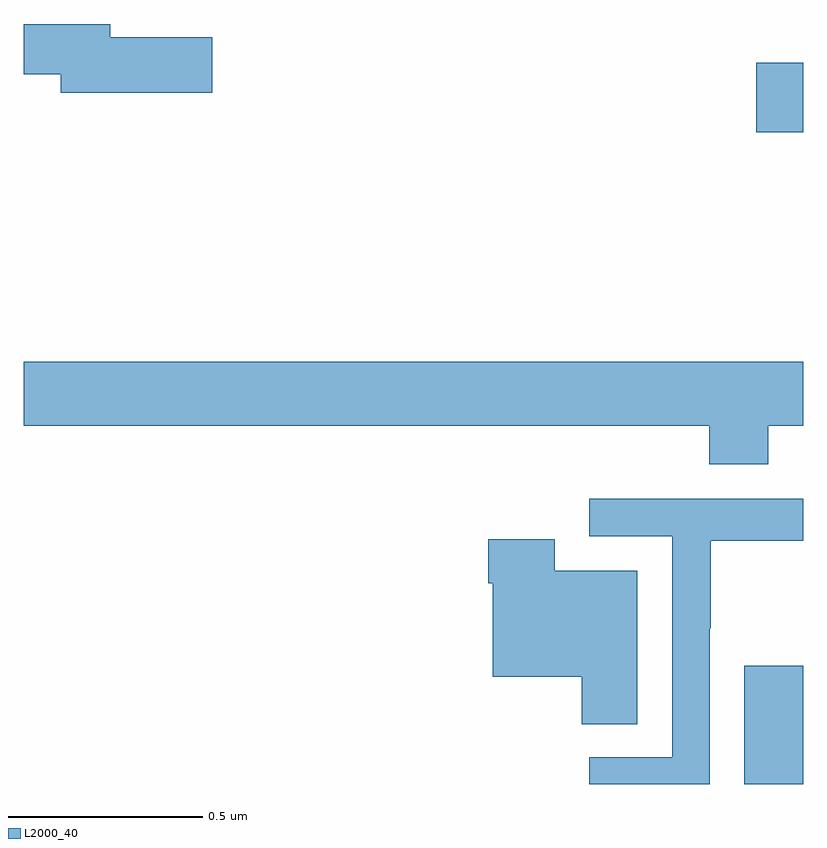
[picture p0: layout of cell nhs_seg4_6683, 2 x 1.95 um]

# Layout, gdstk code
import gdstk
lib = gdstk.Library(unit=1e-6, precision=1e-09)
def R(c, l, rs):  # rectangles x0, y0, x1, y1
    for r in rs: c.add(gdstk.rectangle(r[:2], r[2:], *l))
def P(c, l, *ps):  # polygons
    for p in ps: c.add(gdstk.Polygon(p, *l))
L2000_40 = (2000, 40)

nhs_seg4_6683 = lib.new_cell('nhs_seg4_6683')
R(nhs_seg4_6683, L2000_40, [(194.849,795.9,195,796.203), (194.88,797.573,195,797.751)])
P(nhs_seg4_6683, L2000_40, [(193.483,797.817),(193.222,797.817),(193.222,797.851),(193,797.851),(193,797.722),(193.094,797.722),(193.094,797.675),(193.483,797.675)],
  [(194.911,796.82),(195,796.82),(195,796.984),(193,796.984),(193,796.82),(194.759,796.82),(194.759,796.721),(194.911,796.721)],
  [(194.76,796.3),(194.763,796.3),(194.763,796.524),(195,796.524),(195,796.632),(194.451,796.632),(194.451,796.536),(194.664,796.536),(194.664,795.969),(194.451,795.969),(194.451,795.9),(194.76,795.9)],
  [(194.575,796.447),(194.362,796.447),(194.362,796.528),(194.192,796.528),(194.192,796.415),(194.204,796.415),(194.204,796.175),(194.432,796.175),(194.432,796.054),(194.575,796.054)])

lib.write_gds('nhs_seg4_6683.gds')
